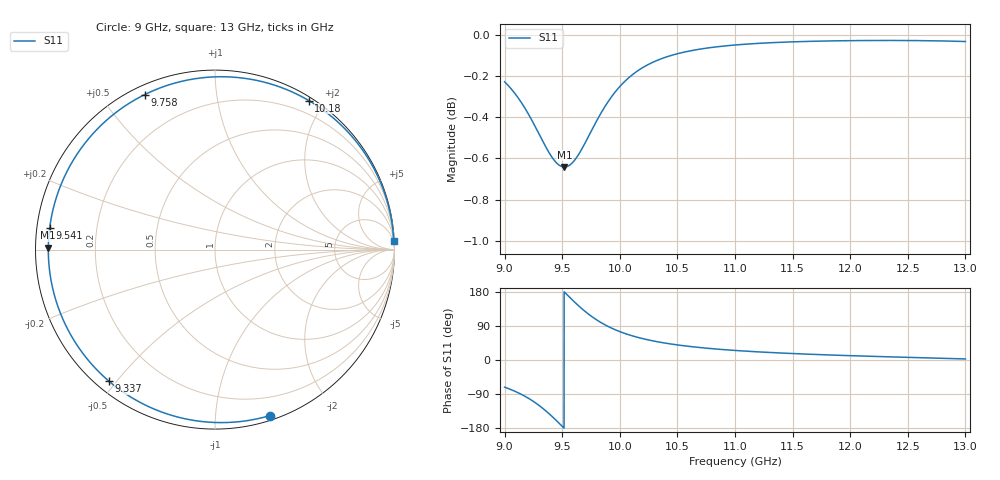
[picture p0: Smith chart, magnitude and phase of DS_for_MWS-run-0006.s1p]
! TOUCHSTONE file generated by CST DESIGN STUDIO
! Date and time: Tue Feb  4 12:47:58 2025
! Project name: C:\Work\MatlabApps\UnitCellOptimizationMatlab\CST\unitcell.cst
! Tree item: Tasks\Sweep1\SPara1\S-Parameters
! Header version: 2024
! Port assignment regex: !\s*Touchstone port\s*([0-9]+)\s*=\s*(CST MWS port|CST DES external port|CST DES block port)\s*(.+)\s* \(\"(.*)\"\)(\s*mode\s*([0-9]+))?.*
! Touchstone port assignment:
! Touchstone port 1 = CST DES external port 1 ("")
# GHz S MA R 50
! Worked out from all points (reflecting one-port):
!   4001 points, 9 GHz to 13 GHz, reference 50 ohm
!   lowest |S11| = -0.6 dB at 9.519 GHz (marker M1), VSWR 27.08, Z = 1.85 + j0.312 ohm
!   phase of S11 starts at -72 deg and turns -285 deg over the sweep
!   S11 on the Smith chart (normalised r, x): 9 GHz: 0.04, -1.38; 9.337 GHz: 0.04, -0.48; 9.541 GHz: 0.04, +0.06; 9.758 GHz: 0.04, +0.64; 10.18 GHz: 0.04, +1.81; 13 GHz: 3, +41
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9  0.9742 -71.8
9.092  0.9676 -82.9
9.197  0.9577 -99.2
9.27  0.9495 -113.5
9.337  0.9416 -128.9
9.381  0.9368 -140.3
9.427  0.9326 -153.2
9.464  0.9302 -164.1
9.5  0.9289 -174.9
9.519  0.9288 179.3
9.541  0.929 172.6
9.595  0.9314 156.4
9.655  0.9366 139.5
9.706  0.9422 126.4
9.758  0.9483 114.3
9.808  0.9541 104.1
9.863  0.96 94.2
10  0.9716 74.9
10.086  0.9768 65.8
10.18  0.9812 57.8
10.326  0.9859 48.2
10.5  0.9896 39.8
10.721  0.9924 32.1
11  0.9944 25.2
11.5  0.9962 17.0
12  0.9968 11.4
12.5  0.9969 7.0
13  0.9964 2.8
